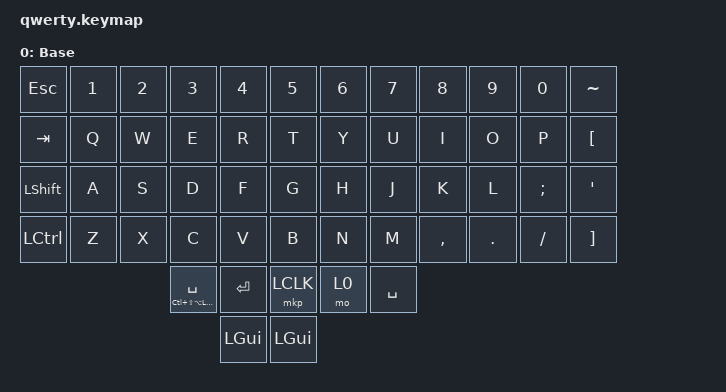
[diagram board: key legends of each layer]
/* upstream bindings and behaviors */

#include <dt-bindings/zmk/mouse.h>
#include <behaviors/mouse_keys.dtsi>
#include <behaviors.dtsi>
#include <dt-bindings/zmk/keys.h>
#include <dt-bindings/zmk/pointing.h>

/* local overlays */

//#include "keymap_features/prospector_brightness.dtsi"
#include "keymap_features/macros.dtsi"
//#include "keymap_features/behaviors.dtsi"
//#include "keymap_features/combos.dtsi"

/ {
    /* --- KEYMAP CONFIG --- */
    // ╭──────┬──────┬──────┬──────┬──────┬──────╮  ╭──────┬──────┬──────┬──────┬──────┬──────╮
    //    00     01     02     03    04      05        06     07     08     09     10     11
    // ├──────┼──────┼──────┼──────┼──────┼──────┤  ├──────┼──────┼──────┼──────┼──────┼──────┤
    //    12     13     14     15    16      17        18     19     20     21     22     23
    // ├──────┼──────┼──────┼──────┼──────┼──────┤  ├──────┼──────┼──────┼──────┼──────┼──────┤
    //    24     25     26     27    28      29        30     31     32     33     34     35
    // ╰──────┴──────┴──────┼──────┼──────┼──────┤  ├──────┼──────┼──────┴──────┴──────┴──────╯
    //                         36     37     38        39     40
    //                      ╰──────┴──────┴──────╯  ╰──────┴──────╯
    // #define BASE    0
    // #define NUM     1
    // #define NAV     2
    // #define SYM     3
    // #define GAME    4
    // #define EXTRAS  5
    // #define SLOW    6
    // #define SCROLL  7
    // This shared keymap builds for prospector and non-prospector firmwares. 
    // This stubs the key bindings that are contained in the prospector module
    // so non-prospector firmware can build.

    #ifndef CONFIG_SHIELD_PROSPECTOR_ADAPTER

    behaviors {
        /omit-if-no-ref/

        pbl: prospector_brightness_stub {
            compatible = "zmk,behavior-macro-two-param";
            #binding-cells = <2>;
            bindings = <&none>;
        };
    };

    #endif

    macros {
    };

    keymap {
        compatible = "zmk,keymap";

        BASE {
            display-name = "Base";
            bindings = <
&kp ESC     &kp NUMBER_1  &kp N2  &kp N3                      &kp N4     &kp N5       &kp N6  &kp N7     &kp N8     &kp N9   &kp N0     &kp TILDE
&kp TAB     &kp Q         &kp W   &kp E                       &kp R      &kp T        &kp Y   &kp U      &kp I      &kp O    &kp P      &kp LEFT_BRACKET
&kp LSHIFT  &kp A         &kp S   &kp D                       &kp F      &kp G        &kp H   &kp J      &kp K      &kp L    &kp SEMI   &kp APOS
&kp LCTRL   &kp Z         &kp X   &kp C                       &kp V      &kp B        &kp N   &kp M      &kp COMMA  &kp DOT  &kp SLASH  &kp RIGHT_BRACKET
                                  &mt LC(LS(LA(LGUI))) SPACE  &kp ENTER  &mkp LCLK    &mo 0   &kp SPACE
                                                              &kp LGUI   &kp LGUI
            >;
        };
    };
};
